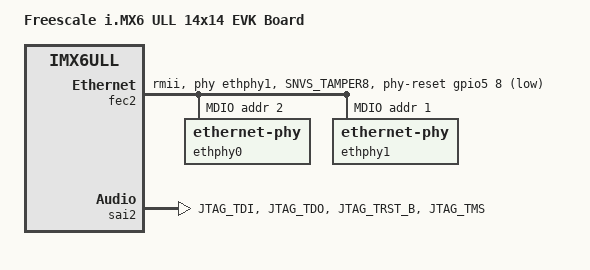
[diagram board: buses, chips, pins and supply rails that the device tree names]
// SPDX-License-Identifier: (GPL-2.0 OR MIT)
//
// Copyright (C) 2016 Freescale Semiconductor, Inc.

/dts-v1/;

#include "imx6ull.dtsi"
#include "imx6ul-14x14-evk.dtsi"

/ {
	model = "Freescale i.MX6 ULL 14x14 EVK Board";
	compatible = "fsl,imx6ull-14x14-evk", "fsl,imx6ull";
};

&clks {
	assigned-clocks = <&clks IMX6UL_CLK_PLL3_PFD2>,
			  <&clks IMX6UL_CLK_PLL4_AUDIO_DIV>;
	assigned-clock-rates = <320000000>, <786432000>;
};

/delete-node/ &sim2;

&can1 {
	/delete-property/ xceiver-supply;
};

&can2 {
	/delete-property/ xceiver-supply;
	status = "disabled";
};

&ov5640 {
	/delete-property/ pwn-gpios;
	/delete-property/ rst-gpios;
};

// Release 74hc595 power and gpio5.io[7], gpio5.io[8].
/ {
	/delete-node/ regulator-can-3v3;
	/delete-node/ spi4;
};

&iomuxc {
	/delete-node/ spi4grp;

	pinctrl_enet1_reset: enet1resetgrp {
		fsl,pins = <MX6UL_PAD_SNVS_TAMPER7__GPIO5_IO07 0x10b0>;
	};

	pinctrl_enet2_reset: enet2resetgrp {
		fsl,pins = <MX6UL_PAD_SNVS_TAMPER8__GPIO5_IO08 0x10b0>;
	};
};

&fec1 {
	pinctrl-names = "default";
	pinctrl-0 = <&pinctrl_enet1 &pinctrl_enet1_reset>;
	phy-mode = "rmii";
	phy-handle = <&ethphy0>;
	phy-reset-gpios = <&gpio5 7 GPIO_ACTIVE_LOW>;
	phy-reset-duration = <200>;
	status = "disabled";
};

&fec2 {
	pinctrl-names = "default";
	pinctrl-0 = <&pinctrl_enet2 &pinctrl_enet2_reset>;
	phy-mode = "rmii";
	phy-handle = <&ethphy1>;
	phy-reset-gpios = <&gpio5 8 GPIO_ACTIVE_LOW>;
	phy-reset-duration = <200>;
	phy-reset-post-delay = <100>;
	status = "okay";

	mdio {
		#address-cells = <1>;
		#size-cells = <0>;

		ethphy0: ethernet-phy@2 {
			reg = <2>;
			/delete-property/ micrel,led-mode;
			clocks = <&clks IMX6UL_CLK_ENET_REF>;
			clock-names = "rmii-ref";
		};

		ethphy1: ethernet-phy@1 {
			reg = <1>;
			/delete-property/ micrel,led-mode;
			clocks = <&clks IMX6UL_CLK_ENET2_REF>;
			clock-names = "rmii-ref";
		};
	};
};

// Remove not supported codec.
/ {
	/delete-node/ sound-wm8960;
};

// Adjust SAI2 pinctrl for i.MX6U-MINI.
&iomuxc {
	pinctrl_sai2: sai2grp {
		fsl,pins = <
			MX6UL_PAD_JTAG_TDI__SAI2_TX_BCLK	0x17088
			MX6UL_PAD_JTAG_TDO__SAI2_TX_SYNC	0x17088
			MX6UL_PAD_JTAG_TRST_B__SAI2_TX_DATA	0x11088
			MX6UL_PAD_JTAG_TMS__SAI2_MCLK		0x17088
		>;
	};
};

&sai2 {
	#sound-dai-cells = <0>;
	pinctrl-names = "default";
	pinctrl-0 = <&pinctrl_sai2>;

	assigned-clocks = <&clks IMX6UL_CLK_SAI2_SEL>,
			  <&clks IMX6UL_CLK_PLL4_AUDIO_DIV>;
	assigned-clock-parents = <&clks IMX6UL_CLK_PLL4_AUDIO_DIV>;
	// 196608000 / (192000 * 2 * 32) = 16.0
	// 196608000 / (48000 * 2 * 16) = 128.0
	assigned-clock-rates = <2>, <196608000>;

	status = "okay";
};

// Add an I2S Receiver, work under 192K sample rate.
/ {
	pcm5102a: pcm5102a {
		#sound-dai-cells = <0>;
		compatible = "ti,pcm5102a";
		status = "okay";
	};

	sound {
		compatible = "simple-audio-card";
		status = "okay";
		simple-audio-card,name = "audec";

		simple-audio-card,format = "i2s";
		simple-audio-card,bitclock-master = <&dailink0_master>;
		simple-audio-card,frame-master = <&dailink0_master>;
		simple-audio-card,convert-rate = <192000>;
		simple-audio-card,mclk-fs = <256>;

		dailink0_master: simple-audio-card,cpu {
			sound-dai = <&sai2>;
		};

		simple-audio-card,codec {
			sound-dai = <&pcm5102a>;
		};
	};
};
